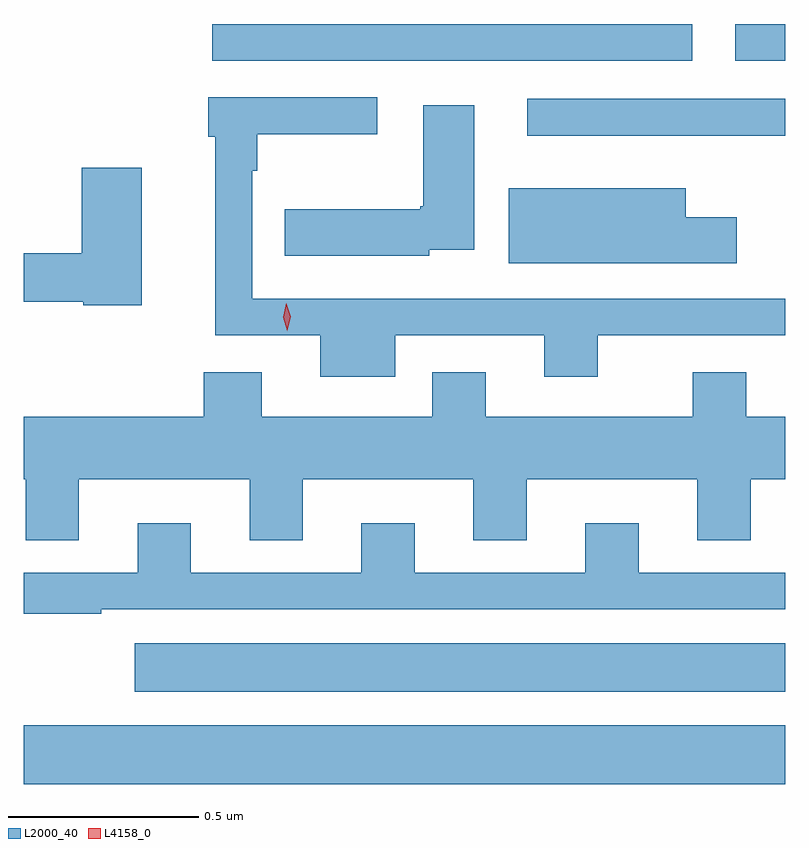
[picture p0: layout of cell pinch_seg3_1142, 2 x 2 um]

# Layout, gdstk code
import gdstk
lib = gdstk.Library(unit=1e-6, precision=1e-09)
def R(c, l, rs):  # rectangles x0, y0, x1, y1
    for r in rs: c.add(gdstk.rectangle(r[:2], r[2:], *l))
def P(c, l, *ps):  # polygons
    for p in ps: c.add(gdstk.Polygon(p, *l))
L2000_40 = (2000, 40)
L4158_0 = (4158, 0)

pinch_seg3_1142 = lib.new_cell('pinch_seg3_1142')
R(pinch_seg3_1142, L2000_40, [(154.314,733.416,156.314,733.57), (154.605,733.658,156.314,733.786), (155.637,735.119,156.314,735.216), (154.809,735.315,156.07,735.412), (156.183,735.315,156.314,735.412)])
P(pinch_seg3_1142, L2000_40, [(155.29,734.595),(155.681,734.595),(155.681,734.486),(155.821,734.486),(155.821,734.595),(156.314,734.595),(156.314,734.691),(154.914,734.691),(154.914,735.026),(154.927,735.026),(154.927,735.122),(155.242,735.122),(155.242,735.219),(154.798,735.219),(154.798,735.116),(154.817,735.116),(154.817,734.595),(155.093,734.595),(155.093,734.486),(155.29,734.486)],
  [(155.379,734.819),(155.497,734.819),(155.497,735.199),(155.363,735.199),(155.363,734.934),(155.356,734.934),(155.356,734.926),(154.999,734.926),(154.999,734.804),(155.379,734.804)],
  [(154.624,735.034),(154.466,735.034),(154.466,734.81),(154.314,734.81),(154.314,734.682),(154.47,734.682),(154.47,734.674),(154.624,734.674)],
  [(156.187,734.905),(156.052,734.905),(156.052,734.98),(155.588,734.98),(155.588,734.783),(156.187,734.783)],
  [(154.459,734.216),(154.907,734.216),(154.907,734.056),(155.047,734.056),(155.047,734.216),(155.495,734.216),(155.495,734.056),(155.635,734.056),(155.635,734.216),(156.083,734.216),(156.083,734.056),(156.223,734.056),(156.223,734.216),(156.314,734.216),(156.314,734.38),(156.211,734.38),(156.211,734.497),(156.071,734.497),(156.071,734.38),(155.527,734.38),(155.527,734.497),(155.387,734.497),(155.387,734.38),(154.939,734.38),(154.939,734.497),(154.787,734.497),(154.787,734.38),(154.314,734.38),(154.314,734.216),(154.319,734.216),(154.319,734.056),(154.459,734.056)],
  [(154.517,733.875),(156.314,733.875),(156.314,733.971),(155.929,733.971),(155.929,734.101),(155.789,734.101),(155.789,733.971),(155.341,733.971),(155.341,734.101),(155.201,734.101),(155.201,733.971),(154.753,733.971),(154.753,734.101),(154.613,734.101),(154.613,733.971),(154.314,733.971),(154.314,733.863),(154.517,733.863)])
P(pinch_seg3_1142, L4158_0, [(155.006,734.606),(155.006,734.607),(154.995,734.642),(155.004,734.679),(155.004,734.679),(155.004,734.679),(155.015,734.643),(155.006,734.607)])

lib.write_gds('pinch_seg3_1142.gds')
